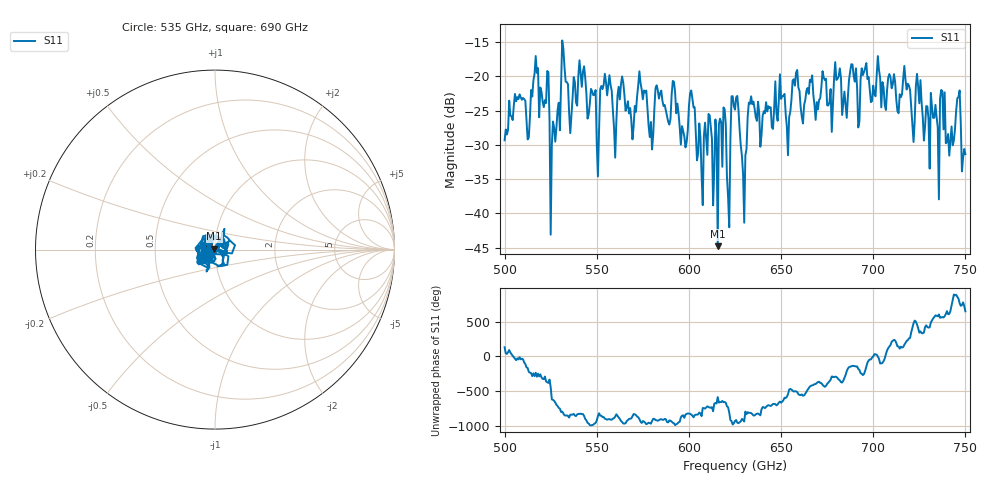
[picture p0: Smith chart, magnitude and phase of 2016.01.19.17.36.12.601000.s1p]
!Created with skrf (http://scikit-rf.org).
# GHz S RI R 50.0
!freq ReS11 ImS11
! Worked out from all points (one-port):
!   401 points, 500 GHz to 750 GHz, reference 50 ohm
!   lowest |S11| = -44.8 dB at 615.6 GHz (marker M1), VSWR 1.01, Z = 49.6 + j0.425 ohm
!   |S11| at or under -10 dB: start of sweep to end of sweep
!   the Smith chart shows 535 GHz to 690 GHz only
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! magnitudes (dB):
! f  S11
! 500 GHz  -29.3
! 513.1 GHz  -28.9
! 516.9 GHz  -17.0
! 526.2 GHz  -26.6
! 531.2 GHz  -14.8
! 550 GHz  -29.9
! 553.1 GHz  -21.9
! 560 GHz  -31.9
! 562.5 GHz  -23.4
! 568.8 GHz  -26.5
! 574.4 GHz  -21.9
! 579.4 GHz  -26.7
! 583.1 GHz  -22.1
! 593.8 GHz  -24.0
! 615.6 GHz  -44.8
! 618.8 GHz  -24.5
! 621.2 GHz  -37.7
! 625 GHz  -24.9
! 630 GHz  -41.4
! 633.8 GHz  -22.9
! 656.2 GHz  -20.6
! 687.5 GHz  -19.3
! 718.8 GHz  -21.1
! 734.4 GHz  -25.9
! 737.5 GHz  -22.2
! 740.6 GHz  -28.4
! 746.2 GHz  -23.0
! 750 GHz  -31.4
